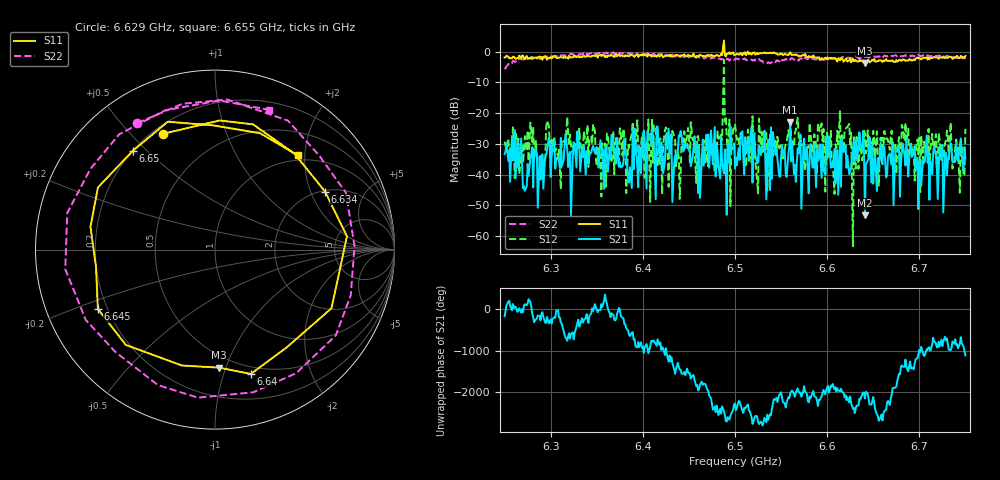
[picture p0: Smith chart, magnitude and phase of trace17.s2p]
# Hz S RI R 50
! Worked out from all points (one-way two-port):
!   401 points, 6.25 GHz to 6.75 GHz, reference 50 ohm
!   highest |S21| = -22.90 dB at 6.56 GHz (marker M1); lowest = -53.2 dB at 6.641 GHz (marker M2)
!   lowest |S11| = -3.6 dB at 6.641 GHz (marker M3), VSWR 4.84, Z = 20.4 - j47.2 ohm
!   |S11| at or under -10 dB: nowhere
!   |S22| runs from -5.6 to -0.2 dB; largest |S21 - S12| = 0.72
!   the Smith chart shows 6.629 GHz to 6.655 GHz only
!   S11 on the Smith chart (normalised r, x): 6.629 GHz: 0.24, +0.62; 6.634 GHz: 2.05, +2.55; 6.64 GHz: 0.43, -1.24; 6.645 GHz: 0.16, -0.23; 6.65 GHz: 0.20, +0.45; 6.655 GHz: 0.91, +1.86
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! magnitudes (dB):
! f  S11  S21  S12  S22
! 6.25 GHz  -1.9  -33.3  -29.3  -5.6
! 6.271 GHz  -2.0  -43.7  -31.7  -2.4
! 6.334 GHz  -1.9  -31.8  -32.6  -0.9
! 6.385 GHz  -1.5  -42.6  -31.3  -0.7
! 6.418 GHz  -1.6  -34.0  -28.9  -0.6
! 6.439 GHz  -1.2  -27.2  -34.4  -1.4
! 6.448 GHz  -1.5  -29.8  -27.8  -1.3
! 6.5 GHz  -1.0  -38.0  -23.7  -2.5
! 6.522 GHz  -1.0  -33.4  -35.3  -2.5
! 6.56 GHz  -0.2  -22.9  -22.7  -2.6
! 6.584 GHz  -1.9  -37.5  -32.5  -2.1
! 6.608 GHz  -2.2  -31.6  -46.3  -2.2
! 6.621 GHz  -2.5  -37.8  -24.6  -2.2
! 6.629 GHz  -3.0  -35.7  -27.2  -1.6
! 6.634 GHz  -3.2  -31.5  -38.1  -2.1
! 6.64 GHz  -2.8  -32.9  -25.7  -1.7
! 6.641 GHz  -3.6  -53.2  -26.6  -1.7
! 6.645 GHz  -2.7  -34.5  -34.0  -2.0
! 6.65 GHz  -2.9  -42.9  -25.7  -1.6
! 6.655 GHz  -3.1  -34.6  -35.0  -1.6
! 6.668 GHz  -2.9  -33.1  -32.0  -1.6
! 6.75 GHz  -1.4  -34.8  -25.0  -2.2
